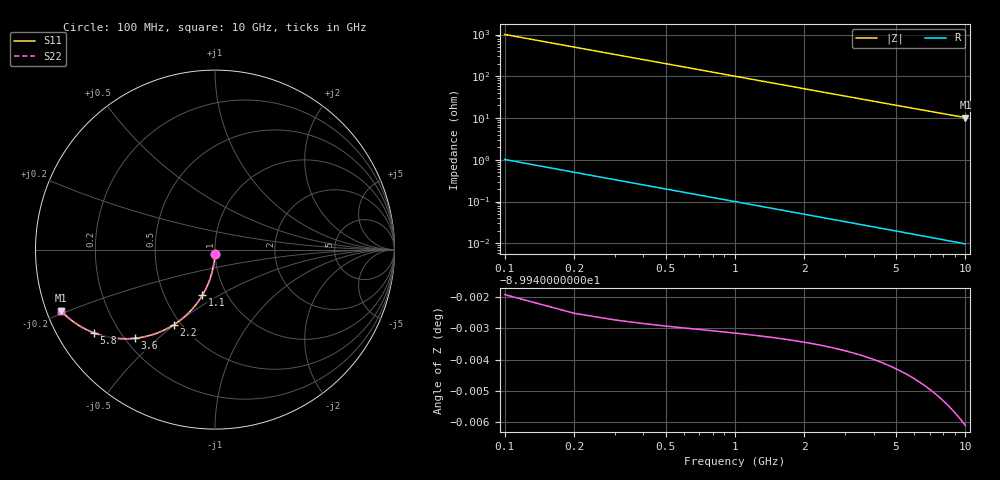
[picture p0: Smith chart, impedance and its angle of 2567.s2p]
# Hz S RI R 50.00
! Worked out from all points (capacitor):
!   100 points, 100 MHz to 10 GHz, reference 50 ohm
!   read as one part in shunt: C = 1.58 pF near 100 MHz
!   lowest |Z| = 10.3 ohm at 10 GHz (marker M1)
!   S11 on the Smith chart (normalised r, x): 100 MHz: 1.00, -0.05; 1.1 GHz: 0.77, -0.42; 2.2 GHz: 0.46, -0.50; 3.6 GHz: 0.24, -0.42; 5.8 GHz: 0.11, -0.31; 10 GHz: 0.04, -0.19
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1e8  -0.000622 -0.0248  0.9993 -0.0249  0.9993 -0.0249  -0.000622 -0.0248
2e8  -0.0025 -0.0495  0.9975 -0.0498  0.9975 -0.0498  -0.0025 -0.0495
3e8  -0.0056 -0.074  0.9944 -0.0744  0.9944 -0.0744  -0.0056 -0.074
4e8  -0.00989 -0.0983  0.9901 -0.0988  0.9901 -0.0988  -0.00989 -0.0983
5e8  -0.0153 -0.1222  0.9846 -0.1229  0.9846 -0.1229  -0.0153 -0.1222
6e8  -0.0219 -0.1456  0.978 -0.1464  0.978 -0.1464  -0.0219 -0.1456
7e8  -0.0296 -0.1685  0.9704 -0.1695  0.9704 -0.1695  -0.0296 -0.1685
9e8  -0.0479 -0.2125  0.952 -0.2138  0.952 -0.2138  -0.0479 -0.2125
1.1e9  -0.0699 -0.2537  0.9301 -0.2552  0.9301 -0.2552  -0.0699 -0.2537
1.4e9  -0.1084 -0.3094  0.8916 -0.3113  0.8916 -0.3113  -0.1084 -0.3094
1.8e9  -0.1671 -0.3714  0.8328 -0.3739  0.8328 -0.3739  -0.1671 -0.3714
2.2e9  -0.2304 -0.4191  0.7695 -0.4222  0.7695 -0.4222  -0.2304 -0.4191
2.8e9  -0.3263 -0.4664  0.6736 -0.4703  0.6736 -0.4703  -0.3263 -0.4664
3.4e9  -0.4163 -0.4901  0.5836 -0.4948  0.5836 -0.4948  -0.4163 -0.4901
3.6e9  -0.4442 -0.4939  0.5557 -0.4989  0.5557 -0.4989  -0.4442 -0.4939
4.3e9  -0.5324 -0.4954  0.4675 -0.5014  0.4675 -0.5014  -0.5324 -0.4954
5.1e9  -0.6153 -0.4824  0.3846 -0.4896  0.3846 -0.4896  -0.6153 -0.4824
5.8e9  -0.6739 -0.4642  0.326 -0.4723  0.326 -0.4723  -0.6739 -0.4642
6.7e9  -0.7337 -0.4368  0.2662 -0.4462  0.2662 -0.4462  -0.7337 -0.4368
7.5e9  -0.7752 -0.4116  0.2246 -0.4222  0.2246 -0.4222  -0.7752 -0.4116
8.4e9  -0.8122 -0.384  0.1877 -0.396  0.1877 -0.396  -0.8122 -0.384
1e10  -0.8597 -0.3396  0.1402 -0.3539  0.1402 -0.3539  -0.8597 -0.3396
